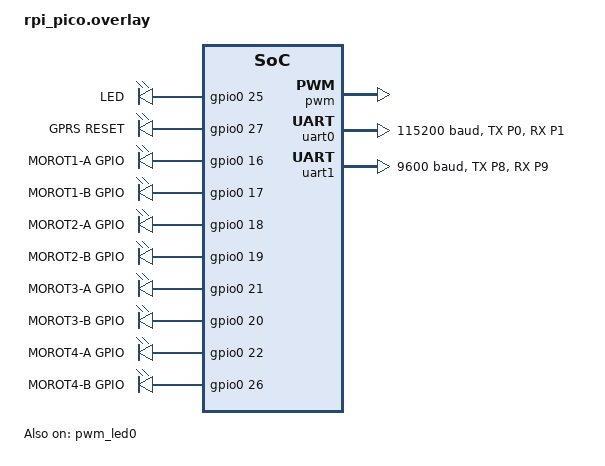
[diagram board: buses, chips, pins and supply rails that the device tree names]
/*
 * Copyright (c) 2021 Nordic Semiconductor ASA
 *
 * SPDX-License-Identifier: Apache-2.0
 */

 #include <zephyr/dt-bindings/gpio/gpio.h>

 / {
	// zephyr,user {
	// 	gprs-rst-gpios = <&gpio0 1 GPIO_ACTIVE_HIGH>;
	// };

	aliases {
		gprs-rst	= &gprs_rst;

		led0		= &led0;
		// pwm_led0	= &pwm_led0;
		
		m1a	= &m1a;
		m1b	= &m1b;
		m2a	= &m2a;
		m2b	= &m2b;
		m3a	= &m3a;
		m3b	= &m3b;
		m4a	= &m4a;
		m4b	= &m4b;

		uart0	= &uart0;
		uart1	= &uart1;
	};

	leds {
		compatible = "gpio-leds";
		led0: led_0 {
			gpios = <&gpio0 25 GPIO_ACTIVE_HIGH>;
			label = "LED";
		};
	};
	
	gprs {
		compatible = "gpio-leds";
		// compatible = "pico-gpios";
		gprs_rst: gprs_reset{
			gpios = <&gpio0 27 GPIO_ACTIVE_HIGH>;
			label = "GPRS RESET";
		};
	};
	
	motors {
		compatible = "gpio-leds";
		m1a: m_1a{
			gpios = <&gpio0 16 GPIO_ACTIVE_HIGH>;
			label = "MOROT1-A GPIO";
		};

		m1b: m_1b{
			gpios = <&gpio0 17 GPIO_ACTIVE_HIGH>;
			label = "MOROT1-B GPIO";
		};

		m2a: m_2a{
			gpios = <&gpio0 18 GPIO_ACTIVE_HIGH>;
			label = "MOROT2-A GPIO";
		};

		m2b: m_2b{
			gpios = <&gpio0 19 GPIO_ACTIVE_HIGH>;
			label = "MOROT2-B GPIO";
		};

		m3a: m_3a{
			gpios = <&gpio0 21 GPIO_ACTIVE_HIGH>;
			label = "MOROT3-A GPIO";
		};

		m3b: m_3b{
			gpios = <&gpio0 20 GPIO_ACTIVE_HIGH>;
			label = "MOROT3-B GPIO";
		};

		m4a: m_4a{
			gpios = <&gpio0 22 GPIO_ACTIVE_HIGH>;
			label = "MOROT4-A GPIO";
		};

		m4b: m_4b{
			gpios = <&gpio0 26 GPIO_ACTIVE_HIGH>;
			label = "MOROT4-B GPIO";
		};
	};
};


&pwm_led0 {
	status = "okay";
};

&pwm {
	status = "okay";
	divider-frac-4 = <255>;
	divider-int-4 = <255>;
};


&uart0 {
	current-speed = <115200>;
	status = "okay";
	pinctrl-0 = <&uart0_default>;
	pinctrl-names = "default";
};


&uart1 {
	current-speed = <9600>;
	status = "okay";
	pinctrl-0 = <&uart1_default>;
	pinctrl-names = "default";
};

&pinctrl {
	uart0_default: uart0_default {
		group1 {
			pinmux = <UART0_TX_P0>;
		};
		group2 {
			pinmux = <UART0_RX_P1>;
			input-enable;
		};
	};

	uart1_default: uart1_default {
		group1 {
			pinmux = <UART1_TX_P8>;
		};
		group2 {
			pinmux = <UART1_RX_P9>;
			input-enable;
		};
	};
};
